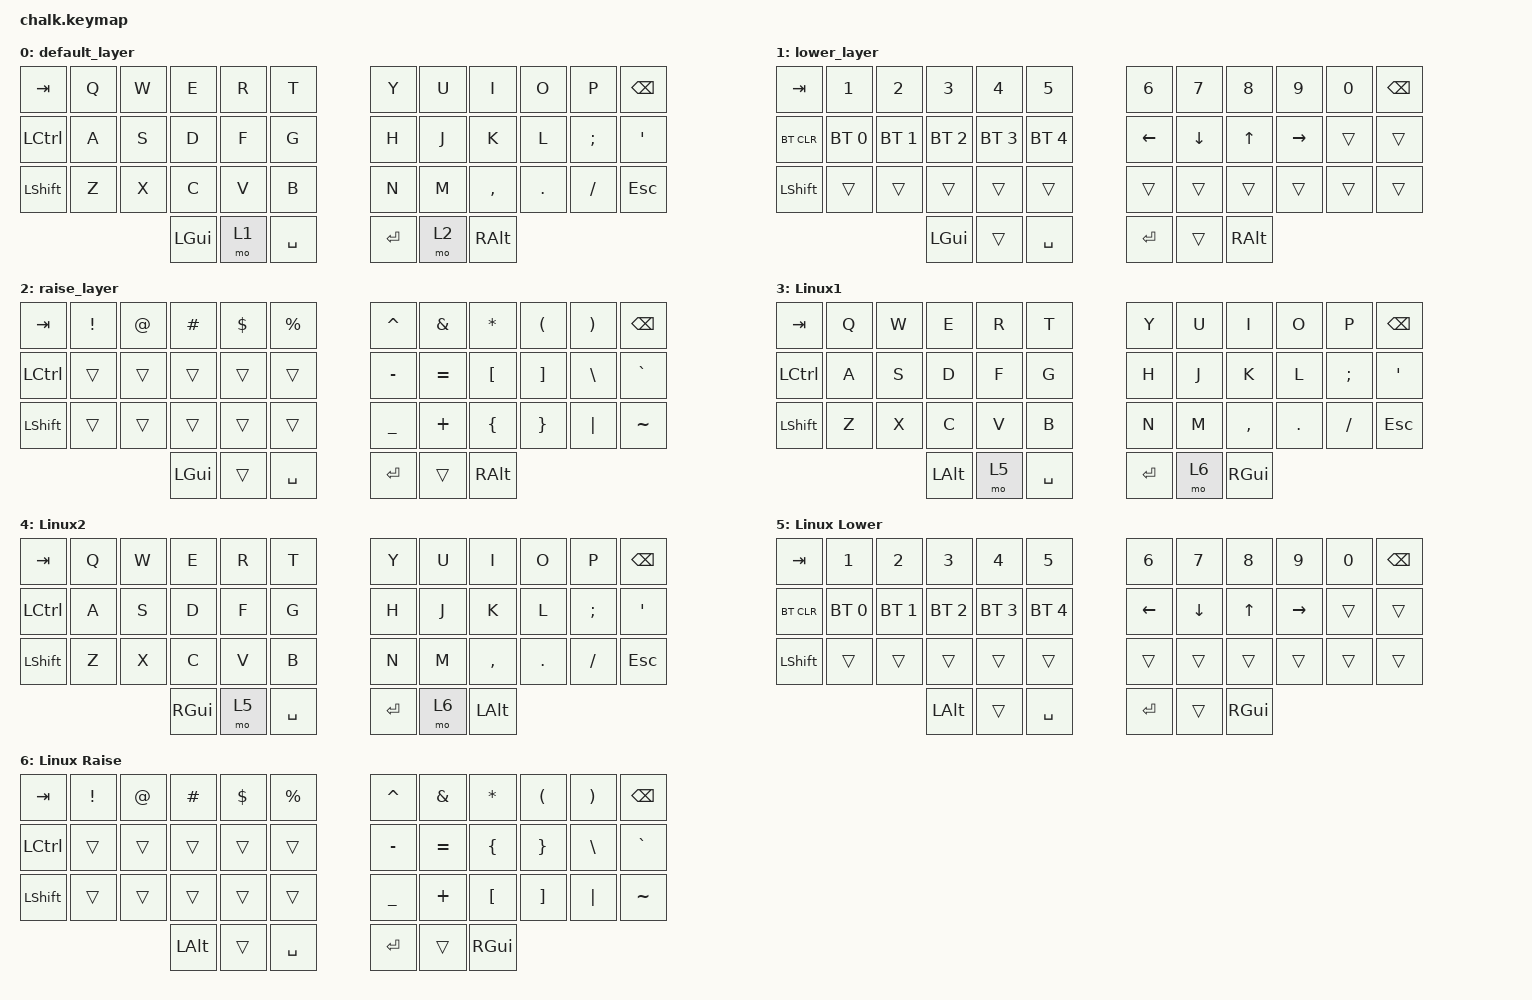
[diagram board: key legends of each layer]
/*
 * Copyright (c) 2020 The ZMK Contributors
 *
 * SPDX-License-Identifier: MIT
 */

#include <behaviors.dtsi>
#include <dt-bindings/zmk/keys.h>
#include <dt-bindings/zmk/bt.h>

/ {
        keymap {
                compatible = "zmk,keymap";

                default_layer {
// -----------------------------------------------------------------------------------------
// |  TAB |  Q  |  W  |  E  |  R  |  T  |   |  Y  |  U   |  I  |  O  |  P  | BSPC |
// | CTRL |  A  |  S  |  D  |  F  |  G  |   |  H  |  J   |  K  |  L  |  ;  |  '   |
// | SHFT |  Z  |  X  |  C  |  V  |  B  |   |  N  |  M   |  ,  |  .  |  /  | ESC  |
//                    | GUI | LWR | SPC |   | ENT | RSE  | ALT |
                        bindings = <
   &kp TAB   &kp Q &kp W &kp E &kp R &kp T   &kp Y &kp U  &kp I     &kp O   &kp P    &kp BSPC
   &kp LCTRL &kp A &kp S &kp D &kp F &kp G   &kp H &kp J  &kp K     &kp L   &kp SEMI &kp SQT
   &kp LSHFT &kp Z &kp X &kp C &kp V &kp B   &kp N &kp M  &kp COMMA &kp DOT &kp FSLH &kp ESC
                  &kp LGUI &mo 1 &kp SPACE   &kp RET &mo 2 &kp RALT
                        >;
                };
                lower_layer {
// -----------------------------------------------------------------------------------------
// |  TAB |  1  |  2  |  3  |  4  |  5  |   |  6  |  7  |  8  |  9  |  0  | BSPC |
// | BTCLR| BT1 | BT2 | BT3 | BT4 | BT5 |   | LFT | DWN |  UP | RGT |     |      |
// | SHFT |     |     |     |     |     |   |     |     |     |     |     |      |
//                    | GUI |     | SPC |   | ENT |     | ALT |
                        bindings = <
   &kp TAB    &kp N1       &kp N2       &kp N3       &kp N4       &kp N5         &kp N6   &kp N7   &kp N8 &kp N9    &kp N0 &kp BSPC
   &bt BT_CLR &bt BT_SEL 0 &bt BT_SEL 1 &bt BT_SEL 2 &bt BT_SEL 3 &bt BT_SEL 4   &kp LEFT &kp DOWN &kp UP &kp RIGHT &trans &trans
   &kp LSHFT  &trans       &trans       &trans       &trans       &trans         &trans   &trans   &trans &trans    &trans &trans
                                    &kp LGUI     &trans       &kp SPACE      &kp RET  &trans   &kp RALT
                        >;
                };

                raise_layer {
// -----------------------------------------------------------------------------------------
// |  TAB |  !  |  @  |  #  |  $  |  %  |   |  ^  |  &  |  *  |  (  |  )  | BSPC |
// | CTRL |     |     |     |     |     |   |  -  |  =  |  [  |  ]  |  \  |  `   |
// | SHFT |     |     |     |     |     |   |  _  |  +  |  {  |  }  | "|" |  ~   |
//                    | GUI |     | SPC |   | ENT |     | ALT |
                        bindings = <
   &kp  TAB  &kp EXCL &kp AT &kp HASH &kp DLLR &kp PRCNT   &kp CARET &kp AMPS  &kp ASTRK &kp LPAR &kp RPAR &kp BSPC
   &kp LCTRL &trans   &trans &trans   &trans   &trans      &kp MINUS &kp EQUAL &kp LBKT  &kp RBKT &kp BSLH &kp GRAVE
   &kp LSHFT &trans   &trans &trans   &trans   &trans      &kp UNDER &kp PLUS  &kp LBRC  &kp RBRC &kp PIPE &kp TILDE
                             &kp LGUI &trans   &kp SPACE   &kp RET   &trans    &kp RALT
                         >;
                 };

                 linux1_layer {
                         display-name = "Linux1";
                         bindings = <
    &kp TAB   &kp Q &kp W &kp E &kp R &kp T   &kp Y &kp U  &kp I     &kp O   &kp P    &kp BSPC
    &kp LCTRL &kp A &kp S &kp D &kp F &kp G   &kp H &kp J  &kp K     &kp L   &kp SEMI &kp SQT
    &kp LSHFT &kp Z &kp X &kp C &kp V &kp B   &kp N &kp M  &kp COMMA &kp DOT &kp FSLH &kp ESC
                   &kp LALT &mo 5 &kp SPACE   &kp RET &mo 6 &kp RGUI
                         >;
                 };

                 linux2_layer {
                         display-name = "Linux2";
                         bindings = <
    &kp TAB   &kp Q &kp W &kp E &kp R &kp T   &kp Y &kp U  &kp I     &kp O   &kp P    &kp BSPC
    &kp LCTRL &kp A &kp S &kp D &kp F &kp G   &kp H &kp J  &kp K     &kp L   &kp SEMI &kp SQT
    &kp LSHFT &kp Z &kp X &kp C &kp V &kp B   &kp N &kp M  &kp COMMA &kp DOT &kp FSLH &kp ESC
                   &kp RGUI &mo 5 &kp SPACE   &kp RET &mo 6 &kp LALT
                         >;
                 };

                 linux_lower_layer {
                         display-name = "Linux Lower";
                         bindings = <
    &kp TAB    &kp N1       &kp N2       &kp N3       &kp N4       &kp N5         &kp N6   &kp N7   &kp N8 &kp N9    &kp N0 &kp BSPC
    &bt BT_CLR &bt BT_SEL 0 &bt BT_SEL 1 &bt BT_SEL 2 &bt BT_SEL 3 &bt BT_SEL 4   &kp LEFT &kp DOWN &kp UP &kp RIGHT &trans &trans
    &kp LSHFT  &trans       &trans       &trans       &trans       &trans         &trans   &trans   &trans &trans    &trans &trans
                   &kp LALT     &trans       &kp SPACE      &kp RET  &trans   &kp RGUI
                         >;
                 };

                 linux_raise_layer {
                         display-name = "Linux Raise";
                         bindings = <
    &kp  TAB  &kp EXCL &kp AT &kp HASH &kp DLLR &kp PRCNT   &kp CARET &kp AMPS  &kp ASTRK &kp LPAR &kp RPAR &kp BSPC
    &kp LCTRL &trans   &trans &trans   &trans   &trans      &kp MINUS &kp EQUAL &kp LBRC  &kp RBRC &kp BSLH &kp GRAVE
    &kp LSHFT &trans   &trans &trans   &trans   &trans      &kp UNDER &kp PLUS  &kp LBKT  &kp RBKT &kp PIPE &kp TILDE
                              &kp LALT &trans   &kp SPACE   &kp RET   &trans    &kp RGUI
                         >;
                 };
         };

         combos {
                 compatible = "zmk,combos";
                 combo_toggle_linux1 {
                         timeout-ms = <50>;
                         key-positions = <35 41>;
                         bindings = <&tg 3>;
                 };
         };
};
